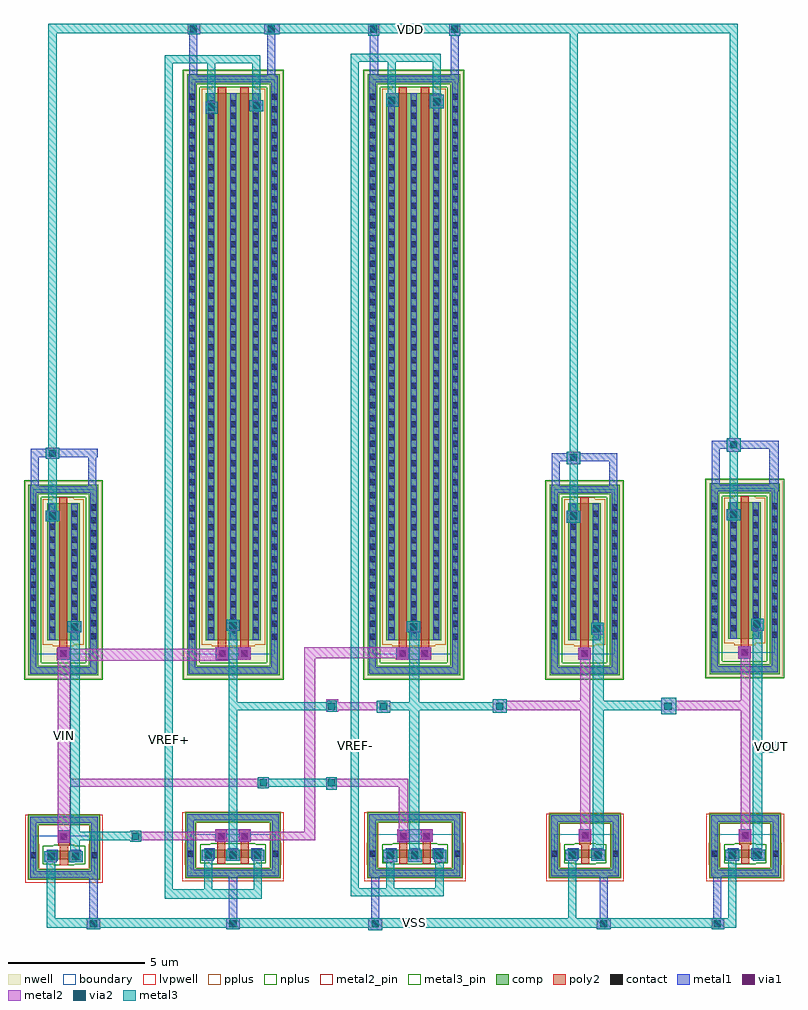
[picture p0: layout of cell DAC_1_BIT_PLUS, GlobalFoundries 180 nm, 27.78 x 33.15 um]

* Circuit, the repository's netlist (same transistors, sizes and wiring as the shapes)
* NGSPICE file created from DAC_1_BIT_PLUS.ext - technology: gf180mcuD

.subckt nfet_03v3_6AW5NP a_n56_n30# a_n208_n36# a_n346_n177# a_116_n30# a_41_86# a_n131_86#
X0 a_116_n30# a_41_86# a_n56_n30# a_n346_n177# nfet_03v3 ad=0.1596p pd=1.64u as=94.8f ps=0.92u w=0.3u l=0.3u
X1 a_n56_n30# a_n131_86# a_n208_n36# a_n346_n177# nfet_03v3 ad=94.8f pd=0.92u as=0.1596p ps=1.64u w=0.3u l=0.3u
.ends

.subckt pfet_03v3_2HCC33 a_112_n2000# a_n200_n2000# a_36_n2143# a_n52_n2000# w_n362_n2282#
+ a_n127_n2143#
X0 a_n52_n2000# a_n127_n2143# a_n200_n2000# w_n362_n2282# pfet_03v3 ad=5.2p pd=20.52u as=8.8p ps=40.88u w=20u l=0.3u
X1 a_112_n2000# a_36_n2143# a_n52_n2000# w_n362_n2282# pfet_03v3 ad=8.8p pd=40.88u as=5.2p ps=20.52u w=20u l=0.3u
.ends

.subckt pfet_03v3_77EGBB a_n118_n500# a_n45_n644# a_30_n500# w_n280_n782#
X0 a_30_n500# a_n45_n644# a_n118_n500# w_n280_n782# pfet_03v3 ad=2.2p pd=10.88u as=2.2p ps=10.88u w=5u l=0.3u
.ends

.subckt nfet_03v3_N4RDNQ a_n43_67# a_30_n30# a_n260_n177# a_n122_n36#
X0 a_30_n30# a_n43_67# a_n122_n36# a_n260_n177# nfet_03v3 ad=0.1596p pd=1.64u as=0.1596p ps=1.64u w=0.3u l=0.3u
.ends

.subckt DAC_1_BIT_PLUS VDD VREF+ VIN VOUT VREF- VSS
XXM1 m1_3480_5000# VREF+ VSS VREF+ m1_2320_6670# m1_2320_6670# nfet_03v3_6AW5NP
XXM2 VREF+ VREF+ VIN m1_3480_5000# VDD VIN pfet_03v3_2HCC33
XXM3 m1_3480_5000# VREF- VSS VREF- VIN VIN nfet_03v3_6AW5NP
XXM4 VREF- VREF- m1_2320_6670# m1_3480_5000# VDD m1_2320_6670# pfet_03v3_2HCC33
XXM5 VDD VIN m1_2320_6670# VDD pfet_03v3_77EGBB
XXM6 VIN m1_2320_6670# VSS VSS nfet_03v3_N4RDNQ
XXM7 VDD m1_3480_5000# m1_6150_5000# VDD pfet_03v3_77EGBB
XXM9 VDD m1_6150_5000# VOUT VDD pfet_03v3_77EGBB
XXM8 m1_3480_5000# m1_6150_5000# VSS VSS nfet_03v3_N4RDNQ
XXM10 m1_6150_5000# VOUT VSS VSS nfet_03v3_N4RDNQ
.ends

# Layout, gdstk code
import gdstk
lib = gdstk.Library(unit=1e-6, precision=1e-09)
def R(c, l, rs):  # rectangles x0, y0, x1, y1
    for r in rs: c.add(gdstk.rectangle(r[:2], r[2:], *l))
def A(c, l, x, y, w, h, nx, ny, dx, dy):  # array of equal rectangles
    R(c, l, [(x+i*dx, y+j*dy, x+i*dx+w, y+j*dy+h) for i in range(nx) for j in range(ny)])
boundary = (0, 0)
nwell = (21, 0)
comp = (22, 0)
poly2 = (30, 0)
pplus = (31, 0)
nplus = (32, 0)
contact = (33, 0)
metal1 = (34, 0)
via1 = (35, 0)
metal2 = (36, 0)
metal2_pin = (36, 10)
via2 = (38, 0)
metal3 = (42, 0)
metal3_pin = (42, 10)
lvpwell = (204, 0)

pfet_03v3_77egbb = lib.new_cell('pfet_03v3_77EGBB')
R(pfet_03v3_77egbb, boundary, [(-1.1,-3.01,1.1,3.01)])
R(pfet_03v3_77egbb, nwell, [(-1.4,-3.91,1.4,3.31)])
R(pfet_03v3_77egbb, comp, [(-1.28,-3.79,1.28,-3.43), (-1.28,-3.43,-0.92,2.83), (0.92,-3.43,1.28,2.83), (-0.59,-2.5,0.59,2.5), (-1.28,2.83,1.28,3.19)])
R(pfet_03v3_77egbb, poly2, [(-0.225,-3.22,0.225,-2.77), (-0.15,-2.77,0.15,2.72)])
R(pfet_03v3_77egbb, pplus, [(-0.38,-2.73,0.38,-2.66), (-0.75,-2.66,0.75,2.66), (-0.38,2.66,0.38,2.73)])
R(pfet_03v3_77egbb, nplus, [(-1.44,-3.95,1.44,-3.32), (-1.44,-3.32,-0.81,2.72), (0.81,-3.32,1.44,2.72), (-1.44,2.72,1.44,3.35)])
A(pfet_03v3_77egbb, contact, -1.21, -2.46, 0.22, 0.22, 1, 11, 0, 0.47)
A(pfet_03v3_77egbb, contact, 0.99, -2.46, 0.22, 0.22, 1, 11, 0, 0.47)
A(pfet_03v3_77egbb, contact, -0.52, -2.225, 0.22, 0.22, 1, 10, 0, 0.47)
A(pfet_03v3_77egbb, contact, 0.3, -2.225, 0.22, 0.22, 1, 10, 0, 0.47)
R(pfet_03v3_77egbb, contact, [(-0.11,-3.095,0.11,-2.875)])
R(pfet_03v3_77egbb, metal1, [(-1.215,-3.725,1.215,-3.495), (-1.215,-3.495,-0.985,2.895), (0.985,-3.495,1.215,2.895), (-0.225,-3.22,0.225,-2.77), (-0.525,-2.49,-0.295,2.49), (0.295,-2.49,0.525,2.49), (-1.215,2.895,1.215,3.125)])

nfet_03v3_n4rdnq = lib.new_cell('nfet_03v3_N4RDNQ')
R(nfet_03v3_n4rdnq, boundary, [(-1.12,-0.705,1.12,0.705)])
R(nfet_03v3_n4rdnq, comp, [(-1.3,-0.885,1.3,-0.525), (-1.3,-0.525,-0.94,1.11), (0.94,-0.525,1.3,1.11), (-0.61,-0.18,-0.25,-0.15), (0.25,-0.18,0.61,-0.15), (-0.61,-0.15,0.61,0.15), (-0.61,0.15,-0.25,0.18), (0.25,0.15,0.61,0.18), (-1.3,1.11,1.3,1.47)])
R(nfet_03v3_n4rdnq, poly2, [(-0.15,-0.37,0.15,0.335), (-0.215,0.335,0.215,0.89)])
R(nfet_03v3_n4rdnq, pplus, [(-1.32,-0.905,1.32,-0.505), (-1.32,-0.505,-0.91,-0.4), (0.91,-0.505,1.32,-0.4), (-1.33,-0.4,-0.91,0.4), (0.91,-0.4,1.33,0.4), (-1.32,0.4,-0.92,1.09), (0.92,0.4,1.32,1.09), (-1.32,1.09,1.32,1.49)])
R(nfet_03v3_n4rdnq, nplus, [(-0.38,-0.38,0.38,-0.34), (-0.77,-0.34,0.77,0.34), (-0.38,0.34,0.38,0.38)])
R(nfet_03v3_n4rdnq, contact, [(-1.23,-0.11,-1.01,0.11), (-0.54,-0.11,-0.32,0.11), (0.32,-0.11,0.54,0.11), (1.01,-0.11,1.23,0.11), (-0.11,0.56,0.11,0.78)])
R(nfet_03v3_n4rdnq, metal1, [(-1.235,-0.82,1.235,-0.59), (-1.235,-0.59,-1.005,1.175), (1.005,-0.59,1.235,1.175), (-0.63,-0.2,-0.23,0.2), (0.23,-0.2,0.63,0.2), (-0.225,0.45,0.225,0.9), (-1.235,1.175,1.235,1.405)])
R(nfet_03v3_n4rdnq, lvpwell, [(-1.42,-1.005,1.42,0.345), (-1.42,0.345,-0.225,0.45), (-0.215,0.345,0.215,0.45), (0.225,0.345,1.42,0.45), (-1.42,0.45,1.42,1.47)])

nfet_03v3_6aw5np = lib.new_cell('nfet_03v3_6AW5NP')
R(nfet_03v3_6aw5np, boundary, [(-1.55,-0.705,1.55,0.705)])
A(nfet_03v3_6aw5np, comp, -1.04, -0.18, 0.36, 0.03, 3, 2, 0.86, 0.33)
R(nfet_03v3_6aw5np, comp, [(-1.73,-0.885,1.73,-0.525), (-1.73,-0.525,-1.37,1.15), (1.37,-0.525,1.73,1.15), (-1.04,-0.15,1.04,0.15), (-1.73,1.15,1.73,1.51)])
R(nfet_03v3_6aw5np, poly2, [(-0.58,-0.37,-0.28,0.43), (0.28,-0.37,0.58,0.43), (-0.655,0.43,-0.205,0.88), (0.205,0.43,0.655,0.88)])
R(nfet_03v3_6aw5np, pplus, [(-1.75,-0.905,1.75,-0.505), (-1.75,-0.505,-1.34,-0.4), (1.34,-0.505,1.75,-0.4), (-1.76,-0.4,-1.34,0.4), (1.34,-0.4,1.76,0.4), (-1.75,0.4,-1.35,1.13), (1.35,0.4,1.75,1.13), (-1.75,1.13,1.75,1.53)])
R(nfet_03v3_6aw5np, nplus, [(-0.81,-0.38,0.81,-0.34), (-1.2,-0.34,1.2,0.34), (-0.81,0.34,0.81,0.38)])
A(nfet_03v3_6aw5np, contact, -0.97, -0.11, 0.22, 0.22, 3, 1, 0.86, 0)
R(nfet_03v3_6aw5np, contact, [(-1.66,-0.11,-1.44,0.11), (1.44,-0.11,1.66,0.11), (-0.54,0.535,-0.32,0.755), (0.32,0.535,0.54,0.755)])
A(nfet_03v3_6aw5np, metal1, -1.06, -0.2, 0.4, 0.4, 3, 1, 0.86, 0)
R(nfet_03v3_6aw5np, metal1, [(-1.665,-0.82,1.665,-0.59), (-1.665,-0.59,-1.435,1.215), (1.435,-0.59,1.665,1.215), (-0.655,0.43,-0.205,0.88), (0.205,0.43,0.655,0.88), (-1.665,1.215,1.665,1.445)])
R(nfet_03v3_6aw5np, lvpwell, [(-1.85,-1.005,1.85,1.51)])

pfet_03v3_2hcc33 = lib.new_cell('pfet_03v3_2HCC33')
R(pfet_03v3_2hcc33, boundary, [(-1.51,-10.51,1.51,10.51)])
R(pfet_03v3_2hcc33, nwell, [(-1.81,-11.41,1.81,10.81)])
R(pfet_03v3_2hcc33, comp, [(-1.69,-11.29,1.69,-10.93), (-1.69,-10.93,-1.33,10.33), (1.33,-10.93,1.69,10.33), (-1,-10,1,10), (-1.69,10.33,1.69,10.69)])
R(pfet_03v3_2hcc33, poly2, [(-0.635,-10.715,-0.185,-10.265), (0.18,-10.715,0.63,-10.265), (-0.56,-10.265,-0.26,10.22), (0.26,-10.265,0.56,10.22)])
R(pfet_03v3_2hcc33, pplus, [(-0.79,-10.23,0.79,-10.16), (-1.16,-10.16,1.16,10.16), (-0.79,10.16,0.79,10.23)])
R(pfet_03v3_2hcc33, nplus, [(-1.85,-11.45,1.85,-10.82), (-1.85,-10.82,-1.22,10.22), (1.22,-10.82,1.85,10.22), (-1.85,10.22,1.85,10.85)])
A(pfet_03v3_2hcc33, contact, -1.62, -9.98, 0.22, 0.22, 1, 43, 0, 0.47)
A(pfet_03v3_2hcc33, contact, 1.4, -9.98, 0.22, 0.22, 1, 43, 0, 0.47)
A(pfet_03v3_2hcc33, contact, -0.93, -9.745, 0.22, 0.22, 3, 42, 0.82, 0.47)
R(pfet_03v3_2hcc33, contact, [(-0.52,-10.595,-0.3,-10.375), (0.295,-10.595,0.515,-10.375)])
A(pfet_03v3_2hcc33, metal1, -0.935, -9.99, 0.23, 19.98, 3, 1, 0.82, 0)
R(pfet_03v3_2hcc33, metal1, [(-1.625,-11.225,1.625,-10.995), (-1.625,-10.995,-1.395,10.395), (1.395,-10.995,1.625,10.395), (-0.635,-10.715,-0.185,-10.265), (0.18,-10.715,0.63,-10.265), (-1.625,10.395,1.625,10.625)])

dac_1_bit_plus = lib.new_cell('DAC_1_BIT_PLUS')
R(dac_1_bit_plus, metal1, [(22.6,22.45,23.1,22.9), (12.3,22.5,12.8,22.9), (17.4,22.5,17.9,22.9), (30.95,22.5,31.45,22.9), (35.15,22.5,35.6,22.9), (12.4,22.9,12.7,24.5), (17.5,22.9,17.8,24.6), (22.7,22.9,23,24.6), (31.05,22.9,31.35,24.65), (35.2,22.9,35.5,24.55), (10.75,24.95,11.2,25.35), (11.65,24.95,12.15,25.35), (23.15,24.95,23.65,25.4), (24.05,24.95,24.55,25.4), (25,24.95,25.45,25.4), (16.5,25,16.95,25.4), (17.4,25,17.9,25.4), (18.35,25,18.8,25.4), (29.8,25,30.25,25.4), (30.75,25,31.25,25.4), (35.65,25,36.15,25.4), (36.65,25,37.1,25.4), (11.27,25.725,11.67,26.025), (23.67,25.745,24.07,26.05), (17.02,25.75,17.42,26.05), (17.88,25.75,18.28,26.05), (24.53,25.75,24.93,26.055), (36.17,25.77,36.57,26.075), (30.32,25.775,30.72,26.075), (11.25,32.425,11.65,32.725), (17.05,32.425,17.45,32.725), (17.865,32.425,18.265,32.725), (23.65,32.425,24.05,32.725), (24.465,32.425,24.865,32.725), (30.3,32.425,30.7,32.725), (36.15,32.475,36.55,32.775), (30.75,33.25,31.2,33.7), (11.6,33.35,12.1,33.75), (24,33.35,24.5,33.75), (17.4,33.4,17.9,33.8), (36.6,33.4,37.05,33.85), (29.85,37.35,30.35,37.8), (10.8,37.4,11.3,37.8), (35.7,37.45,36.2,37.85), (10.25,38.45,10.55,39.75), (12.35,38.45,12.65,39.75), (29.3,38.45,29.6,39.6), (31.4,38.45,31.7,39.6), (35.15,38.5,35.45,40.05), (37.25,38.5,37.6,40.05), (29.85,39.5,30.35,39.6), (29.3,39.6,31.7,39.9), (10.8,39.7,11.3,39.75), (10.25,39.75,12.7,40.05), (29.85,39.9,30.35,39.95), (35.7,39.95,36.2,40.05), (10.8,40.05,11.3,40.1), (35.15,40.05,37.6,40.35), (35.7,40.35,36.2,40.45), (16.65,52.3,17.1,52.75), (18.25,52.4,18.75,52.8), (24.85,52.5,25.35,53), (23.25,52.55,23.7,53.05), (16.05,53.45,16.35,55.2), (18.9,53.45,19.2,55.2), (22.65,53.45,22.95,55.15), (25.6,53.45,25.9,55.15), (22.6,55.15,23,55.6), (25.55,55.15,25.95,55.6), (16,55.2,16.45,55.6), (18.8,55.2,19.35,55.6)])
A(dac_1_bit_plus, via1, 16.62, 25.07, 0.26, 0.26, 3, 1, 0.9, 0)
A(dac_1_bit_plus, via1, 23.27, 25.07, 0.26, 0.26, 3, 1, 0.9, 0)
R(dac_1_bit_plus, via1, [(12.42,22.57,12.68,22.83), (17.52,22.57,17.78,22.83), (22.72,22.57,22.98,22.83), (31.07,22.57,31.33,22.83), (35.22,22.57,35.48,22.83), (10.87,25.02,11.13,25.28), (11.77,25.02,12.03,25.28), (29.92,25.07,30.18,25.33), (30.87,25.07,31.13,25.33), (35.77,25.07,36.03,25.33), (36.72,25.07,36.98,25.33), (11.34,25.745,11.6,26.005), (23.74,25.765,24,26.025), (17.09,25.77,17.35,26.03), (17.95,25.77,18.21,26.03), (24.6,25.77,24.86,26.03), (36.24,25.79,36.5,26.05), (30.39,25.795,30.65,26.055), (11.32,32.445,11.58,32.705), (17.12,32.445,17.38,32.705), (17.935,32.445,18.195,32.705), (23.72,32.445,23.98,32.705), (24.535,32.445,24.795,32.705), (30.37,32.445,30.63,32.705), (36.22,32.495,36.48,32.755), (30.82,33.37,31.08,33.63), (11.72,33.42,11.98,33.68), (24.12,33.42,24.38,33.68), (17.52,33.47,17.78,33.73), (36.67,33.52,36.93,33.78), (10.92,37.47,11.18,37.73), (29.97,37.47,30.23,37.73), (35.82,37.52,36.08,37.78), (29.97,39.62,30.23,39.88), (10.92,39.77,11.18,40.03), (35.82,40.07,36.08,40.33), (16.72,52.42,16.98,52.68), (18.37,52.47,18.63,52.73), (24.97,52.62,25.23,52.88), (23.32,52.67,23.58,52.93), (16.07,55.27,16.33,55.53), (18.92,55.27,19.18,55.53), (22.67,55.27,22.93,55.53), (25.62,55.27,25.88,55.53)])
R(dac_1_bit_plus, metal2, [(22.6,22.45,23.1,22.9), (12.3,22.5,12.8,22.9), (17.4,22.5,17.9,22.9), (30.95,22.5,31.45,22.9), (35.15,22.5,35.6,22.9), (10.75,24.95,11.2,25.35), (11.65,24.95,12.15,25.35), (23.15,24.95,23.65,25.4), (24.05,24.95,24.55,25.4), (25,24.95,25.45,25.4), (16.5,25,16.95,25.4), (17.4,25,17.9,25.4), (18.35,25,18.8,25.4), (29.8,25,30.25,25.4), (30.75,25,31.25,25.4), (35.65,25,36.15,25.4), (36.65,25,37.1,25.4), (11.245,25.655,11.695,26.65), (23.645,25.68,24.1,25.7), (16.995,25.685,17.445,25.7), (17.855,25.685,18.305,25.7), (24.505,25.685,24.96,25.7), (13.95,25.7,14.25,25.75), (16.995,25.7,18.305,25.75), (23.645,25.7,24.96,26.135), (30.295,25.705,30.745,26.155), (36.145,25.705,36.595,26.155), (13.95,25.75,20.65,26.05), (13.95,26.05,14.25,26.1), (16.995,26.05,18.305,26.135), (20.25,26.05,20.65,32.4), (17,26.135,18.3,26.15), (23.65,26.135,24.96,26.14), (23.65,26.14,24.95,26.15), (23.7,26.15,24.05,27.7), (30.35,26.155,30.7,30.5), (36.2,26.155,36.55,30.5), (11.245,26.65,11.7,26.71), (11.25,26.71,11.7,27.7), (21.05,27.6,21.45,27.7), (18.55,27.65,18.95,27.7), (11.25,27.7,18.95,28), (21.05,27.7,24.05,28), (11.25,28,11.7,32.3), (18.55,28,18.95,28.05), (21.05,28,21.45,28.05), (33.3,30.35,33.85,30.5), (22.9,30.4,23.4,30.5), (27.15,30.4,27.65,30.5), (21.05,30.45,21.5,30.5), (21.05,30.5,23.4,30.8), (27.15,30.5,30.7,30.85), (33.3,30.5,36.55,30.85), (21.05,30.8,21.5,30.9), (22.9,30.8,23.4,30.85), (27.15,30.85,27.65,30.9), (30.35,30.85,30.7,32.34), (33.3,30.85,33.85,30.95), (36.2,30.85,36.55,32.39), (11.2,32.3,17.5,32.35), (30.275,32.34,30.725,32.79), (17.84,32.345,18.29,32.35), (23.625,32.345,24.075,32.35), (24.44,32.345,24.89,32.35), (11.2,32.35,18.3,32.75), (23.6,32.35,24.9,32.4), (36.125,32.39,36.575,32.84), (20.25,32.4,24.9,32.8), (11.225,32.75,11.7,32.79), (17,32.75,18.3,32.8), (11.25,32.79,11.7,32.8), (30.75,33.25,31.2,33.7), (11.6,33.35,12.1,33.75), (24,33.35,24.5,33.75), (17.4,33.4,17.9,33.8), (36.6,33.4,37.05,33.85), (29.85,37.35,30.35,37.8), (10.8,37.4,11.3,37.8), (35.7,37.45,36.2,37.85), (29.85,39.5,30.35,39.95), (10.8,39.7,11.3,40.1), (35.7,39.95,36.2,40.45), (16.65,52.3,17.1,52.75), (18.25,52.4,18.75,52.8), (24.85,52.5,25.35,53), (23.25,52.55,23.7,53.05), (22.6,55.15,23,55.6), (25.55,55.15,25.95,55.6), (16,55.2,16.45,55.6), (18.8,55.2,19.35,55.6)])
R(dac_1_bit_plus, metal2_pin, [(11.4,29.5,11.55,29.65)])
A(dac_1_bit_plus, via2, 16.62, 25.07, 0.26, 0.26, 3, 1, 0.9, 0)
A(dac_1_bit_plus, via2, 23.27, 25.07, 0.26, 0.26, 3, 1, 0.9, 0)
R(dac_1_bit_plus, via2, [(12.42,22.57,12.68,22.83), (17.52,22.57,17.78,22.83), (22.72,22.57,22.98,22.83), (31.07,22.57,31.33,22.83), (35.22,22.57,35.48,22.83), (10.87,25.02,11.13,25.28), (11.77,25.02,12.03,25.28), (29.92,25.07,30.18,25.33), (30.87,25.07,31.13,25.33), (35.77,25.07,36.03,25.33), (36.72,25.07,36.98,25.33), (13.97,25.77,14.23,26.03), (18.62,27.72,18.88,27.98), (21.12,27.72,21.38,27.98), (21.12,30.52,21.38,30.78), (23.02,30.52,23.28,30.78), (27.27,30.52,27.53,30.78), (33.42,30.52,33.68,30.78), (30.82,33.37,31.08,33.63), (11.72,33.42,11.98,33.68), (24.12,33.42,24.38,33.68), (17.52,33.47,17.78,33.73), (36.67,33.52,36.93,33.78), (10.92,37.47,11.18,37.73), (29.97,37.47,30.23,37.73), (35.82,37.52,36.08,37.78), (29.97,39.62,30.23,39.88), (10.92,39.77,11.18,40.03), (35.82,40.07,36.08,40.33), (16.72,52.42,16.98,52.68), (18.37,52.47,18.63,52.73), (24.97,52.62,25.23,52.88), (23.32,52.67,23.58,52.93), (16.07,55.27,16.33,55.53), (18.92,55.27,19.18,55.53), (22.67,55.27,22.93,55.53), (25.62,55.27,25.88,55.53)])
R(dac_1_bit_plus, metal3, [(22.6,22.45,23.1,22.55), (12.3,22.5,12.8,22.55), (17.4,22.5,17.9,22.55), (30.95,22.5,31.45,22.55), (35.15,22.5,35.6,22.55), (10.85,22.55,36.05,22.9), (10.85,22.9,11.15,24.95), (29.9,22.9,30.2,25), (35.75,22.9,36.05,25), (15.15,23.6,18.7,23.95), (21.95,23.7,25.35,24), (15.15,23.95,15.45,54.15), (16.6,23.95,16.9,25), (18.4,23.95,18.7,25), (21.95,24,22.25,54.2), (23.25,24,23.55,24.95), (25.05,24,25.35,24.95), (10.75,24.95,11.2,25.35), (11.65,24.95,12.15,25.35), (23.15,24.95,23.65,25.4), (24.05,24.95,24.55,25.4), (25,24.95,25.45,25.4), (16.5,25,16.95,25.4), (17.4,25,17.9,25.4), (18.35,25,18.8,25.4), (29.8,25,30.25,25.4), (30.75,25,31.25,25.4), (35.65,25,36.15,25.4), (36.65,25,37.1,25.4), (11.7,25.35,12.05,25.75), (17.5,25.4,17.8,30.5), (24.1,25.4,24.45,30.5), (30.8,25.4,31.2,30.5), (36.65,25.4,37,28.95), (13.9,25.7,14.3,25.75), (11.7,25.75,14.3,26.05), (11.7,26.05,12.05,33.35), (13.9,26.05,14.3,26.1), (21.05,27.6,21.45,27.7), (18.55,27.65,18.95,27.7), (18.55,27.7,21.45,28), (18.55,28,18.95,28.05), (21.05,28,21.45,28.05), (36.65,28.95,37.5,29.35), (36.65,29.35,37,33.4), (33.3,30.35,33.85,30.5), (22.9,30.4,23.4,30.5), (27.15,30.4,27.65,30.5), (21.1,30.45,21.45,30.5), (17.5,30.5,21.45,30.8), (22.9,30.5,27.65,30.8), (30.8,30.5,33.85,30.85), (17.5,30.8,17.8,33.4), (21.1,30.8,21.45,30.85), (22.9,30.8,23.4,30.85), (24.1,30.8,24.45,33.35), (27.15,30.8,27.65,30.9), (30.8,30.85,31.2,33.25), (33.3,30.85,33.85,30.95), (30.75,33.25,31.2,33.7), (11.6,33.35,12.1,33.75), (24,33.35,24.5,33.75), (17.4,33.4,17.9,33.8), (36.6,33.4,37.05,33.85), (29.85,37.35,30.35,37.8), (10.8,37.4,11.3,37.8), (35.7,37.45,36.2,37.85), (10.9,37.8,11.2,39.7), (29.95,37.8,30.25,39.5), (35.8,37.85,36.1,39.95), (29.85,39.5,30.35,39.95), (10.8,39.7,11.3,40.1), (29.95,39.95,30.25,55.25), (35.7,39.95,36.2,40.45), (10.9,40.1,11.2,55.25), (35.8,40.45,36.1,55.25), (16.65,52.3,17.1,52.75), (18.25,52.4,18.75,52.8), (24.85,52.5,25.35,53), (23.25,52.55,23.7,53.05), (16.7,52.75,17,54.15), (18.35,52.8,18.65,54.15), (24.95,53,25.25,54.2), (23.3,53.05,23.6,54.2), (15.15,54.15,18.65,54.45), (21.95,54.2,25.25,54.5), (22.6,55.15,23,55.25), (25.55,55.15,25.95,55.25), (16,55.2,16.45,55.25), (18.8,55.2,19.35,55.25), (10.9,55.25,36.1,55.6)])
R(dac_1_bit_plus, metal3_pin, [(24.2,22.65,24.35,22.8), (37.25,29.1,37.4,29.25), (22.05,29.15,22.2,29.3), (15.25,29.35,15.4,29.5), (24.05,55.35,24.2,55.45)])
dac_1_bit_plus.add(gdstk.Reference(pfet_03v3_77egbb, (11.45,35.56)))
dac_1_bit_plus.add(gdstk.Reference(nfet_03v3_n4rdnq, (11.47,25.205)))
dac_1_bit_plus.add(gdstk.Reference(nfet_03v3_6aw5np, (17.65,25.255)))
dac_1_bit_plus.add(gdstk.Reference(pfet_03v3_2hcc33, (17.66,43.06)))
dac_1_bit_plus.add(gdstk.Reference(nfet_03v3_6aw5np, (24.3,25.255)))
dac_1_bit_plus.add(gdstk.Reference(pfet_03v3_2hcc33, (24.26,43.06)))
dac_1_bit_plus.add(gdstk.Reference(pfet_03v3_77egbb, (30.5,35.56)))
dac_1_bit_plus.add(gdstk.Reference(nfet_03v3_n4rdnq, (30.52,25.255)))
dac_1_bit_plus.add(gdstk.Reference(pfet_03v3_77egbb, (36.35,35.61)))
dac_1_bit_plus.add(gdstk.Reference(nfet_03v3_n4rdnq, (36.37,25.255)))
dac_1_bit_plus.add(gdstk.Label('VDD', (24.125,55.4), layer=42, texttype=10))
dac_1_bit_plus.add(gdstk.Label('VREF+', (15.325,29.425), layer=42, texttype=10))
dac_1_bit_plus.add(gdstk.Label('VIN', (11.475,29.575), layer=36, texttype=10))
dac_1_bit_plus.add(gdstk.Label('VOUT', (37.325,29.175), layer=42, texttype=10))
dac_1_bit_plus.add(gdstk.Label('VREF-', (22.125,29.225), layer=42, texttype=10))
dac_1_bit_plus.add(gdstk.Label('VSS', (24.275,22.725), layer=42, texttype=10))

lib.write_gds('DAC_1_BIT_PLUS.gds')
